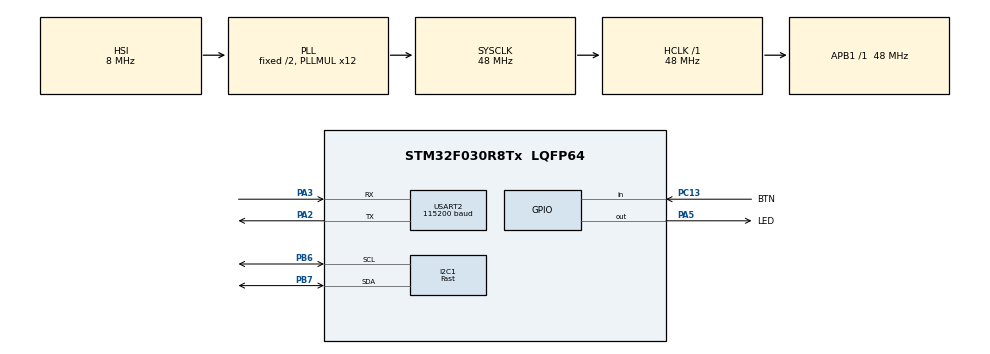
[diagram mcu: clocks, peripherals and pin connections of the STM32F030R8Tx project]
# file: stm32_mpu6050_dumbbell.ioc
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I2C1.I2C_Speed_Mode=I2C_Fast
I2C1.Timing=0x0090194B
Mcu.Family=STM32F0
Mcu.Name=STM32F030R8Tx
Mcu.Package=LQFP64
PA2.Mode=Asynchronous
PA2.Signal=USART2_TX
PA3.Mode=Asynchronous
PA3.Signal=USART2_RX
PA5.GPIO_Label=LED
PA5.GPIO_Speed=GPIO_SPEED_FREQ_HIGH
PA5.Signal=GPIO_Output
PB6.GPIO_Pu=GPIO_PULLUP
PB6.Mode=I2C
PB6.Signal=I2C1_SCL
PB7.GPIO_Pu=GPIO_PULLUP
PB7.Mode=I2C
PB7.Signal=I2C1_SDA
PC13.GPIO_Label=BTN
PC13.GPIO_PuPd=GPIO_PULLUP
PC13.Signal=GPIO_Input
ProjectManager.HeapSize=0x200
ProjectManager.StackSize=0x400
ProjectManager.TargetToolchain=MDK-ARM V5.27
RCC.AHBFreq_Value=48000000
RCC.APB1Freq_Value=48000000
RCC.APB1TimFreq_Value=48000000
RCC.HCLKFreq_Value=48000000
RCC.I2c1ClockSelection=RCC_I2C1CLKSOURCE_SYSCLK
RCC.PLLMUL=RCC_PLL_MUL12
RCC.SYSCLKFreq_VALUE=48000000
RCC.SYSCLKSource=RCC_SYSCLKSOURCE_PLLCLK
USART2.BaudRate=115200
USART2.VirtualMode-Asynchronous=VM_ASYNC
board=custom

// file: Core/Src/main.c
/* USER CODE BEGIN Header */
/**
  ******************************************************************************
  * @file           : main.c
  * @brief          : Main program body
  ******************************************************************************
  * @attention
  *
  * Copyright (c) 2024 STMicroelectronics.
  * All rights reserved.
  *
  * This software is licensed under terms that can be found in the LICENSE file
  * in the root directory of this software component.
  * If no LICENSE file comes with this software, it is provided AS-IS.
  *
  ******************************************************************************
  */
/* USER CODE END Header */
#include "main.h"

/* USER CODE BEGIN Includes */
#include <stdlib.h>
#include <math.h>
#include <stdbool.h>
#include <stdio.h>
#include "string.h"
#ifdef USE_BNO055
#include "bno055.h"
#elif defined USE_MPU6050
#include "mpu6050.h"
#else
#error please defined IMU
#endif
/* USER CODE END Includes */

/* USER CODE BEGIN PTD */
typedef enum {
    AXIS_UNKNOW = 0,
    AXIS_X = 1,
    AXIS_Y = 2,
    AXIS_Z = 3
} SampleAxis_TypeDef;

typedef struct {
	float accel_x;
	float accel_y;
	float accel_z;
	int repetition_count;
	int is_moving_up;
	int training_reps_done;
	float accel_up_max;
	float accel_down_min;
	float trained_up_threshold;
	float trained_down_threshold;
	SampleAxis_TypeDef sample_axis;
} DumbbellData;
/* USER CODE END PTD */

/* USER CODE BEGIN PM */
#define ACCEL_THRESHOLD_UP 1.0
#define ACCEL_THRESHOLD_DOWN -1.0
#define TRAINING_COUNT 10
/* USER CODE END PM */

I2C_HandleTypeDef hi2c1;

UART_HandleTypeDef huart2;

/* USER CODE BEGIN PV */
DumbbellData dumbbell_data = {0};
#ifdef USE_BNO055
struct bno055_t bno055;
#elif defined USE_MPU6050
MPU6050_t MPU6050;
#else
#error please defined IMU
#endif
/* USER CODE END PV */

void SystemClock_Config(void);
static void MX_GPIO_Init(void);
static void MX_USART2_UART_Init(void);
static void MX_I2C1_Init(void);
/* USER CODE BEGIN PFP */
#ifdef __GNUC__
/* With GCC, small printf (option LD Linker->Libraries->Small printf
   set to 'Yes') calls __io_putchar() */
	#define PUTCHAR_PROTOTYPE int __io_putchar(int ch)
#else
	#define PUTCHAR_PROTOTYPE int fputc(int ch, FILE *f)
#endif /* __GNUC__ */
/* USER CODE END PFP */

/* USER CODE BEGIN 0 */

#ifdef USE_BNO055
/*--------------------------------------------------------------------------*
 *  The following API is used to map the I2C bus read, write, delay and
 *  device address with global structure bno055_t
 *-------------------------------------------------------------------------*/

/*-------------------------------------------------------------------*
 *
 *  This is a sample code for read and write the data by using I2C
 *  Use either I2C  based on your need
 *  The device address defined in the bno055.h file
 *
 *--------------------------------------------------------------------*/

/*  \Brief: The API is used as I2C bus write
 *  \Return : Status of the I2C write
 *  \param dev_addr : The device address of the sensor
 *  \param reg_addr : Address of the first register,
 *   will data is going to be written
 *  \param reg_data : It is a value hold in the array,
 *      will be used for write the value into the register
 *  \param cnt : The no of byte of data to be write
 */
s8 BNO055_I2C_bus_write(u8 dev_addr, u8 reg_addr, u8 *reg_data, u8 cnt) {
    return (HAL_OK == HAL_I2C_Mem_Write(&hi2c1, dev_addr<<1, reg_addr, 1, reg_data, cnt, 100)) ? BNO055_SUCCESS : BNO055_ERROR;
}

/*  \Brief: The API is used as I2C bus read
 *  \Return : Status of the I2C read
 *  \param dev_addr : The device address of the sensor
 *  \param reg_addr : Address of the first register,
 *  will data is going to be read
 *  \param reg_data : This data read from the sensor,
 *   which is hold in an array
 *  \param cnt : The no of byte of data to be read
 */
s8 BNO055_I2C_bus_read(u8 dev_addr, u8 reg_addr, u8 *reg_data, u8 cnt) {
    return (HAL_OK == HAL_I2C_Mem_Read(&hi2c1, dev_addr<<1, reg_addr, 1, reg_data, cnt, 100)) ? BNO055_SUCCESS : BNO055_ERROR;
}

/*  Brief : The delay routine
 *  \param : delay in ms
 */
void BNO055_delay_msek(u32 msek) {
    /*Here you can write your own delay routine*/
    HAL_Delay(msek);
}

/*-------------------------------------------------------------------------*
 *  By using bno055 the following structure parameter can be accessed
 *  Bus write function pointer: BNO055_WR_FUNC_PTR
 *  Bus read function pointer: BNO055_RD_FUNC_PTR
 *  Delay function pointer: delay_msec
 *  I2C address: dev_addr
 *--------------------------------------------------------------------------*/
s8 I2C_routine(void) {
    bno055.bus_write = BNO055_I2C_bus_write;
    bno055.bus_read = BNO055_I2C_bus_read;
    bno055.delay_msec = BNO055_delay_msek;
    bno055.dev_addr = BNO055_I2C_ADDR1;

    return BNO055_INIT_VALUE;
}
#endif

void dumbbell_determine_which_axis_to_train(void) {
    // determine which axix to sample
    if ((fabs(dumbbell_data.accel_x) > fabs(dumbbell_data.accel_y)) && (fabs(dumbbell_data.accel_x) > fabs(dumbbell_data.accel_z))) {
        dumbbell_data.sample_axis = AXIS_X;
        printf("Training by AXIS_X \n\r");
    } else if ((fabs(dumbbell_data.accel_y) > fabs(dumbbell_data.accel_x)) && (fabs(dumbbell_data.accel_y) > fabs(dumbbell_data.accel_z))) {
        dumbbell_data.sample_axis = AXIS_Y;
        printf("Training by AXIS_Y \n\r");
    } else { /*if ((fabs(dumbbell_data.accel_z) > fabs(dumbbell_data.accel_x)) && (fabs(dumbbell_data.accel_z) > fabs(dumbbell_data.accel_y)))*/
        dumbbell_data.sample_axis = AXIS_Z;
        printf("Training by AXIS_Z \n\r");
    }
}

void dumbbell_train_and_recognize(void) {
	float temp;

	// select axis data
	switch (dumbbell_data.sample_axis) {
	case AXIS_X:
		temp = dumbbell_data.accel_x;
		break;
	case AXIS_Y:
		temp = dumbbell_data.accel_y;
		break;
	case AXIS_Z:
	default:
		temp = dumbbell_data.accel_z;
		break;
	}

	if (dumbbell_data.training_reps_done < TRAINING_COUNT) {
		if (temp > dumbbell_data.accel_up_max) {
			dumbbell_data.accel_up_max = temp;
		}
		if (temp < dumbbell_data.accel_down_min) {
			dumbbell_data.accel_down_min = temp;
		}

		if (temp > ACCEL_THRESHOLD_UP && dumbbell_data.is_moving_up == 0) {
			dumbbell_data.is_moving_up = 1;
            //printf("is_moving_up AccelX:%f, AccelY:%f, AccelZ:%f \n\r", dumbbell_data.accel_x, dumbbell_data.accel_y, dumbbell_data.accel_z);
		} else if (temp < ACCEL_THRESHOLD_DOWN && dumbbell_data.is_moving_up == 1) {
			dumbbell_data.is_moving_up = 0;
            //printf("is_moving_down AccelX:%f, AccelY:%f, AccelZ:%f \n\r", dumbbell_data.accel_x, dumbbell_data.accel_y, dumbbell_data.accel_z);
			dumbbell_data.training_reps_done++;
			printf("Training rep %d \n\r", dumbbell_data.training_reps_done);
		}

		if (dumbbell_data.training_reps_done == TRAINING_COUNT) {
			dumbbell_data.trained_up_threshold = dumbbell_data.accel_up_max * 0.7; //0.9;
			dumbbell_data.trained_down_threshold = dumbbell_data.accel_down_min * 0.7; //1.1;
			printf("Training complete. Up threshold: %f, Down threshold: %f\n\r", dumbbell_data.trained_up_threshold, dumbbell_data.trained_down_threshold);
			printf("accel_up_max: %f, accel_down_min: %f\n\r", dumbbell_data.accel_up_max, dumbbell_data.accel_down_min);
		}
	} else {
		if (temp > dumbbell_data.trained_up_threshold && dumbbell_data.is_moving_up == 0) {
			dumbbell_data.is_moving_up = 1;
		} else if (temp < dumbbell_data.trained_down_threshold && dumbbell_data.is_moving_up == 1) {
			dumbbell_data.is_moving_up = 0;
			dumbbell_data.repetition_count++;
			printf("Valid rep detected. Count: %d\n\r", dumbbell_data.repetition_count);
		}
	}
}
/* USER CODE END 0 */

int main(void)
{

  /* USER CODE BEGIN 1 */
	uint32_t imu_tick = 0, led_tick = 0, led_period = 1000;
#ifdef USE_BNO055
    struct bno055_accel_float_t accel_xyz;
#endif
  /* USER CODE END 1 */

  /* MCU Configuration--------------------------------------------------------*/

  /* Reset of all peripherals, Initializes the Flash interface and the Systick. */
  HAL_Init();

  /* Configure the system clock */
  SystemClock_Config();

  /* Initialize all configured peripherals */
  MX_GPIO_Init();
  MX_USART2_UART_Init();
  MX_I2C1_Init();
  /* USER CODE BEGIN 2 */
#ifdef USE_BNO055
    printf("bno055_init");
    I2C_routine();

    bno055_set_sys_rst(BNO055_BIT_ENABLE);
    HAL_Delay(100);

    if (BNO055_SUCCESS != bno055_init(&bno055)) {
        printf(" fail \n\r");
        return -1;
    }

    //printf(" bno055 chip_id: 0x%X is %s\n\r", bno055.chip_id, (0xA0 == bno055.chip_id) ? "correct" : "incorrect");

    if (BNO055_SUCCESS != bno055_set_operation_mode(BNO055_OPERATION_MODE_ACCONLY)) {
        printf("set bno055 operation mode fail \n\r");
        return -1;
    }

    if (BNO055_SUCCESS != bno055_set_accel_range(BNO055_ACCEL_RANGE_2G)) {
        printf("set bno055 accel range fail \n\r");
        return -1;
    }

    if (BNO055_SUCCESS != bno055_set_accel_bw(BNO055_ACCEL_BW_250HZ)) {
        printf("set bno055 accel bw fail \n\r");
        return -1;
    }

    if (BNO055_SUCCESS != bno055_set_accel_power_mode(BNO055_ACCEL_NORMAL)) {
        printf("set bno055 accel power mode fail \n\r");
        return -1;
    }

#elif defined USE_MPU6050
	printf("MPU6050_Init");
	while (MPU6050_Init(&hi2c1) == 1) {
		printf(".");
	}
#else
#error please defined IMU
#endif
	printf(" successfully \n\r");
  /* USER CODE END 2 */

  /* Infinite loop */
  /* USER CODE BEGIN WHILE */
	while (1) {

		// read every 100ms
		if ((HAL_GetTick() - imu_tick) > 100) {
			imu_tick = HAL_GetTick();
#ifdef USE_BNO055
			bno055_convert_float_accel_xyz_mg(&accel_xyz);
			dumbbell_data.accel_x = accel_xyz.x/1000;
			dumbbell_data.accel_y = accel_xyz.y/1000;
			dumbbell_data.accel_z = accel_xyz.z/1000;
#elif defined USE_MPU6050
			MPU6050_Read_Accel(&hi2c1, &MPU6050);
			dumbbell_data.accel_x = MPU6050.Ax;
			dumbbell_data.accel_y = MPU6050.Ay;
			dumbbell_data.accel_z = MPU6050.Az;
#else
#error please defined IMU
#endif
			//printf("AccelX:%f, AccelY:%f, AccelZ:%f \n\r", dumbbell_data.accel_x, dumbbell_data.accel_y, dumbbell_data.accel_z);

			if (dumbbell_data.sample_axis == AXIS_UNKNOW )
				dumbbell_determine_which_axis_to_train();
			else
				dumbbell_train_and_recognize();
		}

		/* User push-button press */
		if (HAL_GPIO_ReadPin(BTN_GPIO_Port, BTN_Pin) == GPIO_PIN_RESET) {
			uint32_t button_pressed_tick = HAL_GetTick();
			while (HAL_GPIO_ReadPin(BTN_GPIO_Port, BTN_Pin) == GPIO_PIN_RESET) {	 // wait until release
				HAL_GPIO_TogglePin(LED_GPIO_Port, LED_Pin);
				HAL_Delay(100);
			}

			// long press
			if ((HAL_GetTick() - button_pressed_tick) > 2000) {
				if (dumbbell_data.training_reps_done != 0) {
					memset(&dumbbell_data, 0, sizeof(dumbbell_data));
					dumbbell_data.sample_axis = AXIS_UNKNOW;
					printf("trig to train again\n\r");
				} else
					printf("already in train state\n\r");
			}
			//else {
			//	printf("button short press\n\r");
			//}
		}

		// LED
		if ((HAL_GetTick() - led_tick) > led_period) {
			led_tick = HAL_GetTick();

			if (dumbbell_data.training_reps_done == TRAINING_COUNT) {
				led_period = (led_period == 1000) ? 10 : 1000;
                HAL_GPIO_WritePin(LED_GPIO_Port, LED_Pin, (led_period == 10) ? GPIO_PIN_SET : GPIO_PIN_RESET);
            } else {
				led_period = 1000;
				HAL_GPIO_TogglePin(LED_GPIO_Port, LED_Pin);
			}
		}

    }
    /* USER CODE END WHILE */

}

void SystemClock_Config(void)
{
  RCC_OscInitTypeDef RCC_OscInitStruct = {0};
  RCC_ClkInitTypeDef RCC_ClkInitStruct = {0};
  RCC_PeriphCLKInitTypeDef PeriphClkInit = {0};

  /** Initializes the RCC Oscillators according to the specified parameters
  * in the RCC_OscInitTypeDef structure.
  */
  RCC_OscInitStruct.OscillatorType = RCC_OSCILLATORTYPE_HSI;
  RCC_OscInitStruct.HSIState = RCC_HSI_ON;
  RCC_OscInitStruct.HSICalibrationValue = RCC_HSICALIBRATION_DEFAULT;
  RCC_OscInitStruct.PLL.PLLState = RCC_PLL_ON;
  RCC_OscInitStruct.PLL.PLLSource = RCC_PLLSOURCE_HSI;
  RCC_OscInitStruct.PLL.PLLMUL = RCC_PLL_MUL12;
  RCC_OscInitStruct.PLL.PREDIV = RCC_PREDIV_DIV1;
  if (HAL_RCC_OscConfig(&RCC_OscInitStruct) != HAL_OK)
  {
    Error_Handler();
  }

  /** Initializes the CPU, AHB and APB buses clocks
  */
  RCC_ClkInitStruct.ClockType = RCC_CLOCKTYPE_HCLK|RCC_CLOCKTYPE_SYSCLK
                              |RCC_CLOCKTYPE_PCLK1;
  RCC_ClkInitStruct.SYSCLKSource = RCC_SYSCLKSOURCE_PLLCLK;
  RCC_ClkInitStruct.AHBCLKDivider = RCC_SYSCLK_DIV1;
  RCC_ClkInitStruct.APB1CLKDivider = RCC_HCLK_DIV1;

  if (HAL_RCC_ClockConfig(&RCC_ClkInitStruct, FLASH_LATENCY_1) != HAL_OK)
  {
    Error_Handler();
  }
  PeriphClkInit.PeriphClockSelection = RCC_PERIPHCLK_I2C1;
  PeriphClkInit.I2c1ClockSelection = RCC_I2C1CLKSOURCE_SYSCLK;
  if (HAL_RCCEx_PeriphCLKConfig(&PeriphClkInit) != HAL_OK)
  {
    Error_Handler();
  }
}

static void MX_I2C1_Init(void)
{

  hi2c1.Instance = I2C1;
  hi2c1.Init.Timing = 0x0090194B;
  hi2c1.Init.OwnAddress1 = 0;
  hi2c1.Init.AddressingMode = I2C_ADDRESSINGMODE_7BIT;
  hi2c1.Init.DualAddressMode = I2C_DUALADDRESS_DISABLE;
  hi2c1.Init.OwnAddress2 = 0;
  hi2c1.Init.OwnAddress2Masks = I2C_OA2_NOMASK;
  hi2c1.Init.GeneralCallMode = I2C_GENERALCALL_DISABLE;
  hi2c1.Init.NoStretchMode = I2C_NOSTRETCH_DISABLE;
  if (HAL_I2C_Init(&hi2c1) != HAL_OK)
  {
    Error_Handler();
  }

  /** Configure Analogue filter
  */
  if (HAL_I2CEx_ConfigAnalogFilter(&hi2c1, I2C_ANALOGFILTER_ENABLE) != HAL_OK)
  {
    Error_Handler();
  }

  /** Configure Digital filter
  */
  if (HAL_I2CEx_ConfigDigitalFilter(&hi2c1, 0) != HAL_OK)
  {
    Error_Handler();
  }

}

static void MX_USART2_UART_Init(void)
{

  huart2.Instance = USART2;
  huart2.Init.BaudRate = 115200;
  huart2.Init.WordLength = UART_WORDLENGTH_8B;
  huart2.Init.StopBits = UART_STOPBITS_1;
  huart2.Init.Parity = UART_PARITY_NONE;
  huart2.Init.Mode = UART_MODE_TX_RX;
  huart2.Init.HwFlowCtl = UART_HWCONTROL_NONE;
  huart2.Init.OverSampling = UART_OVERSAMPLING_16;
  huart2.Init.OneBitSampling = UART_ONE_BIT_SAMPLE_DISABLE;
  huart2.AdvancedInit.AdvFeatureInit = UART_ADVFEATURE_NO_INIT;
  if (HAL_UART_Init(&huart2) != HAL_OK)
  {
    Error_Handler();
  }

}

static void MX_GPIO_Init(void)
{
  GPIO_InitTypeDef GPIO_InitStruct = {0};

  /* GPIO Ports Clock Enable */
  __HAL_RCC_GPIOC_CLK_ENABLE();
  __HAL_RCC_GPIOA_CLK_ENABLE();
  __HAL_RCC_GPIOB_CLK_ENABLE();

  /*Configure GPIO pin Output Level */
  HAL_GPIO_WritePin(LED_GPIO_Port, LED_Pin, GPIO_PIN_RESET);

  /*Configure GPIO pin : BTN_Pin */
  GPIO_InitStruct.Pin = BTN_Pin;
  GPIO_InitStruct.Mode = GPIO_MODE_INPUT;
  GPIO_InitStruct.Pull = GPIO_PULLUP;
  HAL_GPIO_Init(BTN_GPIO_Port, &GPIO_InitStruct);

  /*Configure GPIO pin : LED_Pin */
  GPIO_InitStruct.Pin = LED_Pin;
  GPIO_InitStruct.Mode = GPIO_MODE_OUTPUT_PP;
  GPIO_InitStruct.Pull = GPIO_NOPULL;
  GPIO_InitStruct.Speed = GPIO_SPEED_FREQ_HIGH;
  HAL_GPIO_Init(LED_GPIO_Port, &GPIO_InitStruct);

}

/* USER CODE BEGIN 4 */
/**
  * @brief  Retargets the C library printf function to the USART.
  * @param  None
  * @retval None
  */
PUTCHAR_PROTOTYPE
{
	/* Place your implementation of fputc here */
	/* e.g. write a character to the USART2 and Loop until the end of transmission */
	HAL_UART_Transmit(&huart2, (uint8_t *)&ch, 1, 0xFFFF);

	return ch;
}
/* USER CODE END 4 */

void Error_Handler(void)
{
	__disable_irq();
	while (1) {
	}
}
